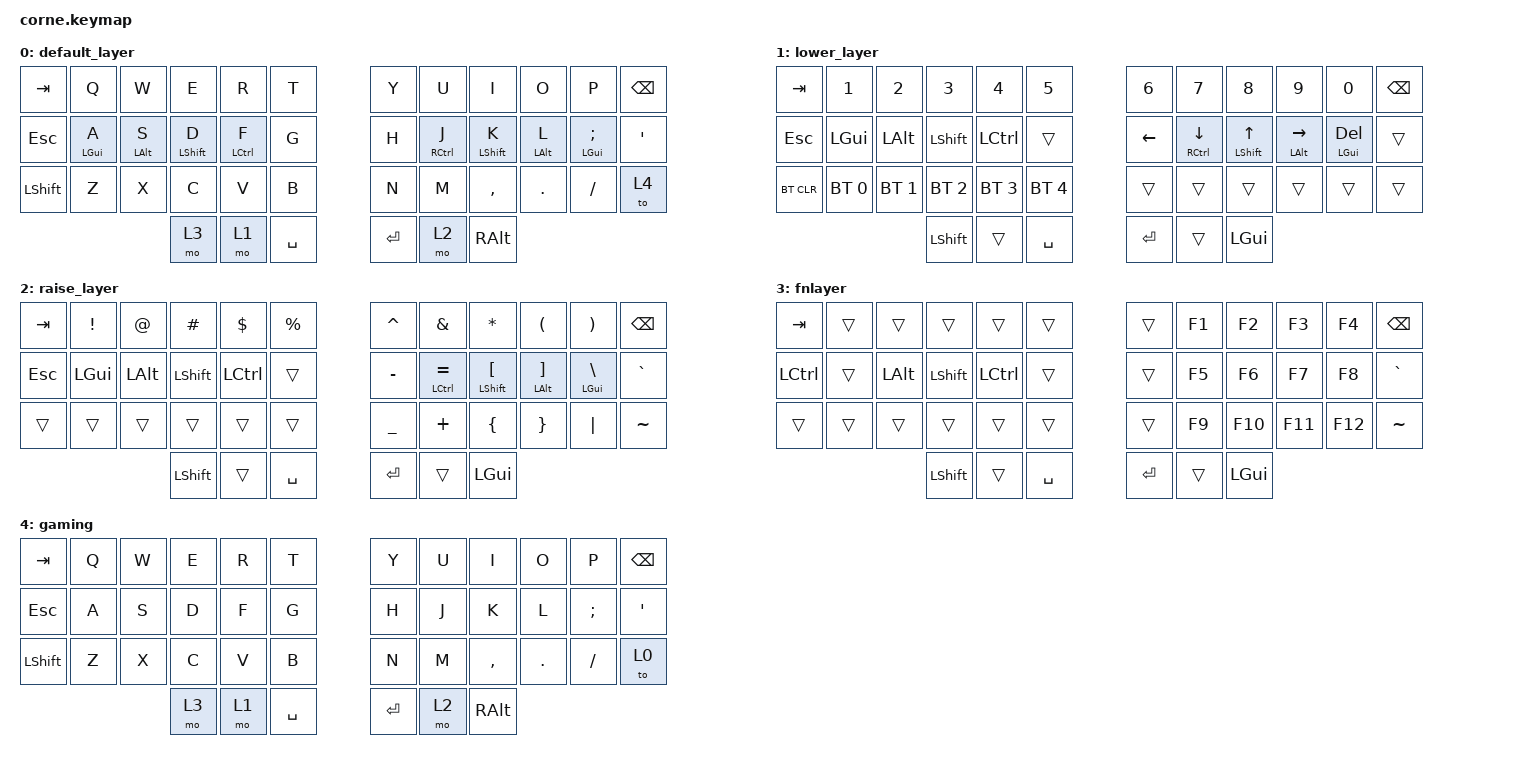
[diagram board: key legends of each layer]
/*
 * Copyright (c) 2020 The ZMK Contributors
 *
 * SPDX-License-Identifier: MIT
 */

#include <behaviors.dtsi>
#include <dt-bindings/zmk/keys.h>
#include <dt-bindings/zmk/bt.h>


/ {

            behaviors {
        mt_impl: mod-tap-by-hold-tap {
            compatible = "zmk,behavior-hold-tap";
            label = "MOD_TAP_BY_HOLD_TAP";
            #binding-cells = <2>;
            tapping-term-ms = <200>;
            quick-tap-ms = <200>;
            flavor = "tap-preferred";
            bindings = <&kp>, <&kp>;
        };
    };

        keymap {

                compatible = "zmk,keymap";

                default_layer {
// -----------------------------------------------------------------------------------------
// |  TAB |  Q  |  W  |  E  |  R  |  T  |   |  Y  |  U   |  I  |  O  |  P  | BSPC |
// |  ESC |  A  |  S  |  D  |  F  |  G  |   |  H  |  J   |  K  |  L  |  ;  |  '   |
// | fn   |  Z  |  X  |  C  |  V  |  B  |   |  N  |  M   |  ,  |  .  |  /  | ESC  |
//                    | shft| LWR | SPC |   | ENT | RSE  | gui |
                        bindings = <
   &kp TAB    &kp Q           &kp W            &kp E            &kp R           &kp T &kp Y &kp U            &kp I            &kp O             &kp P              &kp BSPC
   &kp ESC    &mt_impl LGUI A &mt_impl LALT S &mt_impl LSHFT D  &mt_impl LCTL F &kp G &kp H &mt_impl RCTL J  &mt_impl LSHFT K  &mt_impl LALT L  &mt_impl LGUI SEMI &kp SQT
   &kp LSHFT  &kp Z           &kp X            &kp C            &kp V           &kp B &kp N &kp M            &kp COMMA        &kp DOT           &kp FSLH           &to 4
                  &mo 3 &mo 1 &kp SPACE   &kp RET &mo 2 &kp RALT
                        >;
                };


                lower_layer {
// -----------------------------------------------------------------------------------------
// |  TAB |  1  |  2  |  3  |  4  |  5  |   |  6  |  7  |  8  |  9  |  0  | BSPC |
// | ESC  |     |     |     |     |     |   | LFT | DWN |  UP | RGT | DEL |      |
// | BTCLR| BT0 | BT1 | BT2 | BT3 | BT4 |   |     |     |     |     |     |      |
//                    |LSHFT|     | SPC |   | ENT |     | LGUI|
                        bindings = <
   &kp TAB    &kp N1       &kp N2         &kp N3       &kp N4       &kp N5         &kp N6   &kp N7             &kp N8           &kp N9               &kp N0            &kp BSPC
   &kp ESC    &kp LGUI     &kp  LALT     &kp LSHFT     &kp LCTL     &trans         &kp LEFT &mt_impl RCTL DOWN &mt_impl LSHFT UP &mt_impl LALT RIGHT &mt_impl LGUI DEL &trans
   &bt BT_CLR &bt BT_SEL 0 &bt BT_SEL 1   &bt BT_SEL 2 &bt BT_SEL 3 &bt BT_SEL 4   &trans   &trans             &trans           &trans               &trans            &trans
                                    &kp LSHFT     &trans       &kp SPACE      &kp RET  &trans   &kp LGUI
                        >;
                };
                raise_layer {
// -----------------------------------------------------------------------------------------
// |  TAB |  !  |  @  |  #  |  $  |  %  |   |  ^  |  &  |  *  |  (  |  )  | BSPC |
// | CTRL |     |     |     |     |     |   |  -  |  =  |  [  |  ]  |  \  |  `   |
// | SHFT |     |     |     |     |     |   |  _  |  +  |  {  |  }  | "|" |  ~   |
//                    | GUI |     | SPC |   | ENT |     | ALT |
                        bindings = <
   &kp TAB &kp EXCL &kp AT &kp HASH &kp DLLR &kp PRCNT   &kp CARET &kp AMPS  &kp ASTRK &kp LPAR &kp RPAR &kp BSPC
   &kp ESC &kp LGUI   &kp LALT &kp LSHFT &kp LCTL &trans      &kp MINUS &mt_impl LCTL EQUAL &mt_impl LSHFT LBKT  &mt_impl LALT RBKT &mt_impl LGUI BSLH &kp GRAVE
   &trans  &trans   &trans &trans   &trans   &trans      &kp UNDER &kp PLUS  &kp LBRC  &kp RBRC &kp PIPE &kp TILDE
                             &kp LSHFT &trans   &kp SPACE   &kp RET   &trans    &kp LGUI
                        >;
                };

                fnlayer {
// -----------------------------------------------------------------------------------------
// |  TAB |  !  |  @  |  #  |  $  |  %  |   |  ^  |  &  |  *  |  (  |  )  | BSPC |
// | CTRL |     |     |     |     |     |   |  -  |  =  |  [  |  ]  |  \  |  `   |
// | SHFT |     |     |     |     |     |   |  _  |  +  |  {  |  }  | "|" |  ~   |
//                    | GUI |     | SPC |   | ENT |     | ALT |
                        bindings = <
   &kp  TAB  &trans   &trans    &trans   &trans   &trans      &trans &kp F1 &kp F2  &kp F3  &kp F4  &kp BSPC
   &kp LCTRL &trans   &kp LALT &kp LSHFT &kp LCTL &trans      &trans &kp F5 &kp F6  &kp F7  &kp F8  &kp GRAVE
   &trans    &trans   &trans    &trans   &trans   &trans      &trans &kp F9 &kp F10 &kp F11 &kp F12 &kp TILDE
                             &kp LSHFT &trans   &kp SPACE   &kp RET   &trans    &kp LGUI
                        >;
                };
                               gaming {
// -----------------------------------------------------------------------------------------
// |  TAB |  Q  |  W  |  E  |  R  |  T  |   |  Y  |  U   |  I  |  O  |  P  | BSPC |
// | CTRL |  A  |  S  |  D  |  F  |  G  |   |  H  |  J   |  K  |  L  |  ;  |  '   |
// | SHFT |  Z  |  X  |  C  |  V  |  B  |   |  N  |  M   |  ,  |  .  |  /  | ESC  |
//                    | GUI | LWR | SPC |   | ENT | RSE  | ALT |
                        bindings = <
   &kp TAB   &kp Q &kp W &kp E &kp R &kp T   &kp Y &kp U  &kp I     &kp O   &kp P    &kp BSPC
   &kp ESC   &kp A &kp S &kp D &kp F &kp G   &kp H &kp J  &kp K     &kp L   &kp SEMI &kp SQT
   &kp LSHFT &kp Z &kp X &kp C &kp V &kp B   &kp N &kp M  &kp COMMA &kp DOT &kp FSLH &to 0
                  &mo 3 &mo 1 &kp SPACE   &kp RET &mo 2 &kp RALT
                        >;
                };
        };
};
